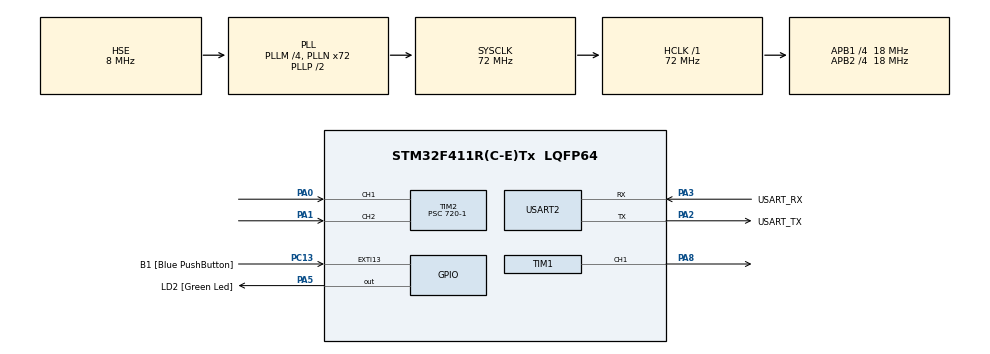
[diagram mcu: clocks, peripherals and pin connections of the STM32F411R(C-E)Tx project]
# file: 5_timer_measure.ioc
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Mcu.Family=STM32F4
Mcu.Name=STM32F411R(C-E)Tx
Mcu.Package=LQFP64
NVIC.PriorityGroup=NVIC_PRIORITYGROUP_0
NVIC.TIM2_IRQn=true\:0\:0\:false\:false\:true\:true\:true\:true
PA0-WKUP.Signal=S_TIM2_CH1_ETR
PA1.Signal=S_TIM2_CH2
PA13.GPIO_Label=TMS
PA13.Mode=Serial_Wire
PA13.Signal=SYS_JTMS-SWDIO
PA14.GPIO_Label=TCK
PA14.Mode=Serial_Wire
PA14.Signal=SYS_JTCK-SWCLK
PA2.GPIO_Label=USART_TX
PA2.Mode=Asynchronous
PA2.Signal=USART2_TX
PA3.GPIO_Label=USART_RX
PA3.Mode=Asynchronous
PA3.Signal=USART2_RX
PA5.GPIO_Label=LD2 [Green Led]
PA5.Signal=GPIO_Output
PA8.Signal=S_TIM1_CH1
PB3.GPIO_Label=SWO
PB3.Signal=SYS_JTDO-SWO
PC13-ANTI_TAMP.GPIO_Label=B1 [Blue PushButton]
PC13-ANTI_TAMP.GPIO_ModeDefaultEXTI=GPIO_MODE_IT_FALLING
PC13-ANTI_TAMP.Signal=GPXTI13
PC14-OSC32_IN.Mode=LSE-External-Oscillator
PC14-OSC32_IN.Signal=RCC_OSC32_IN
PC15-OSC32_OUT.Mode=LSE-External-Oscillator
PC15-OSC32_OUT.Signal=RCC_OSC32_OUT
PH0\ -\ OSC_IN.Mode=HSE-External-Clock-Source
PH0\ -\ OSC_IN.Signal=RCC_OSC_IN
PH1\ -\ OSC_OUT.Mode=HSE-External-Clock-Source
PH1\ -\ OSC_OUT.Signal=RCC_OSC_OUT
ProjectManager.HeapSize=0x200
ProjectManager.StackSize=0x400
ProjectManager.TargetToolchain=STM32CubeIDE
RCC.48MHZClocksFreq_Value=36000000
RCC.AHBFreq_Value=72000000
RCC.APB1CLKDivider=RCC_HCLK_DIV4
RCC.APB1Freq_Value=18000000
RCC.APB1TimFreq_Value=36000000
RCC.APB2CLKDivider=RCC_HCLK_DIV4
RCC.APB2Freq_Value=18000000
RCC.APB2TimFreq_Value=36000000
RCC.CortexFreq_Value=72000000
RCC.FLatency-AdvancedSettings=FLASH_LATENCY_2
RCC.HCLKFreq_Value=72000000
RCC.HSE_VALUE=8000000
RCC.HSI_VALUE=16000000
RCC.PLLM=4
RCC.PLLN=72
RCC.PLLSourceVirtual=RCC_PLLSOURCE_HSE
RCC.SYSCLKFreq_VALUE=72000000
RCC.SYSCLKSource=RCC_SYSCLKSOURCE_PLLCLK
RCC.VCOOutputFreq_Value=144000000
SH.S_TIM1_CH1.0=TIM1_CH1,Output Compare1 CH1
SH.S_TIM2_CH1_ETR.0=TIM2_CH1,Input_Capture1_from_TI1
SH.S_TIM2_CH2.0=TIM2_CH2,Input_Capture2_from_TI2
TIM1.AutoReloadPreload=TIM_AUTORELOAD_PRELOAD_ENABLE
TIM1.Channel-Output\ Compare1\ CH1=TIM_CHANNEL_1
TIM1.OCMode_1=TIM_OCMODE_TOGGLE
TIM1.Period=100-1
TIM1.Prescaler=18000-1
TIM1.Pulse-Output\ Compare1\ CH1=50-1
TIM2.AutoReloadPreload=TIM_AUTORELOAD_PRELOAD_ENABLE
TIM2.Channel-Input_Capture1_from_TI1=TIM_CHANNEL_1
TIM2.Channel-Input_Capture2_from_TI2=TIM_CHANNEL_2
TIM2.ICFilter_CH1=15
TIM2.ICFilter_CH2=15
TIM2.ICPolarity_CH2=TIM_INPUTCHANNELPOLARITY_FALLING
TIM2.Period=50000-1
TIM2.Prescaler=720-1
USART2.VirtualMode=VM_ASYNC
VP_TIM1_VS_ClockSourceINT.Mode=Internal
VP_TIM2_VS_ClockSourceINT.Mode=Internal
board=NUCLEO-F411RE

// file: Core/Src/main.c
/* USER CODE BEGIN Header */
/**
  ******************************************************************************
  * @file           : main.c
  * @brief          : Main program body
  ******************************************************************************
  * @attention
  *
  * Copyright (c) 2025 STMicroelectronics.
  * All rights reserved.
  *
  * This software is licensed under terms that can be found in the LICENSE file
  * in the root directory of this software component.
  * If no LICENSE file comes with this software, it is provided AS-IS.
  *
  ******************************************************************************
  */
/* USER CODE END Header */
#include "main.h"

/* USER CODE BEGIN Includes */
#include <stdio.h>
/* USER CODE END Includes */

TIM_HandleTypeDef htim1;
TIM_HandleTypeDef htim2;

UART_HandleTypeDef huart2;

/* USER CODE BEGIN PV */
uint32_t InputCapture1, InputCapture2;
float DutyRatio, Frequency;
/* USER CODE END PV */

void SystemClock_Config(void);
static void MX_GPIO_Init(void);
static void MX_USART2_UART_Init(void);
static void MX_TIM1_Init(void);
static void MX_TIM2_Init(void);
/* USER CODE BEGIN PFP */
int __io_putchar(int ch)
{
	HAL_UART_Transmit(&huart2, (uint8_t *)&ch, 1, 0xFFFF);
	return ch;
}

void HAL_TIM_IC_CaptureCallback(TIM_HandleTypeDef *htim)
{
	if(htim->Instance == TIM2)
	{
		if(htim->Channel == HAL_TIM_ACTIVE_CHANNEL_1)	//주기 측정
		{
			InputCapture1 = HAL_TIM_ReadCapturedValue(htim, TIM_CHANNEL_1);
			__HAL_TIM_SET_COUNTER(htim, 0);
		}
		if(htim->Channel == HAL_TIM_ACTIVE_CHANNEL_2)	//펄스폭 측정
		{
			InputCapture2 = HAL_TIM_ReadCapturedValue(htim, TIM_CHANNEL_2);
		}
		DutyRatio = (float)((InputCapture2+1)+100/(InputCapture1+1));	//듀티비 계산
		Frequency = 1/((InputCapture1+1)*0.00002);
	}
}
/* USER CODE END PFP */

int main(void)
{

  /* MCU Configuration--------------------------------------------------------*/

  /* Reset of all peripherals, Initializes the Flash interface and the Systick. */
  HAL_Init();

  /* Configure the system clock */
  SystemClock_Config();

  /* Initialize all configured peripherals */
  MX_GPIO_Init();
  MX_USART2_UART_Init();
  MX_TIM1_Init();
  MX_TIM2_Init();
  /* USER CODE BEGIN 2 */
  HAL_TIM_OC_Start(&htim1, TIM_CHANNEL_1);	//10Hz 구형파 발생
  HAL_TIM_IC_Start_IT(&htim2, TIM_CHANNEL_1);	//IC1 동작시작
  HAL_TIM_IC_Start_IT(&htim2, TIM_CHANNEL_2);	//IC1 동작시작

  printf("\n TIM2 Input Capture test start!");
  /* USER CODE END 2 */

  /* Infinite loop */
  /* USER CODE BEGIN WHILE */
  while (1)
  {
	  printf("\n\r IC1 = %ld, IC2 = %ld, DutyRatio=%3.1f, Frequency = %3.2fHz", InputCapture1+1, InputCapture2+1, DutyRatio, Frequency);
    /* USER CODE END WHILE */

  }
}

void SystemClock_Config(void)
{
  RCC_OscInitTypeDef RCC_OscInitStruct = {0};
  RCC_ClkInitTypeDef RCC_ClkInitStruct = {0};

  /** Configure the main internal regulator output voltage
  */
  __HAL_RCC_PWR_CLK_ENABLE();
  __HAL_PWR_VOLTAGESCALING_CONFIG(PWR_REGULATOR_VOLTAGE_SCALE1);

  /** Initializes the RCC Oscillators according to the specified parameters
  * in the RCC_OscInitTypeDef structure.
  */
  RCC_OscInitStruct.OscillatorType = RCC_OSCILLATORTYPE_HSE;
  RCC_OscInitStruct.HSEState = RCC_HSE_BYPASS;
  RCC_OscInitStruct.PLL.PLLState = RCC_PLL_ON;
  RCC_OscInitStruct.PLL.PLLSource = RCC_PLLSOURCE_HSE;
  RCC_OscInitStruct.PLL.PLLM = 4;
  RCC_OscInitStruct.PLL.PLLN = 72;
  RCC_OscInitStruct.PLL.PLLP = RCC_PLLP_DIV2;
  RCC_OscInitStruct.PLL.PLLQ = 4;
  if (HAL_RCC_OscConfig(&RCC_OscInitStruct) != HAL_OK)
  {
    Error_Handler();
  }

  /** Initializes the CPU, AHB and APB buses clocks
  */
  RCC_ClkInitStruct.ClockType = RCC_CLOCKTYPE_HCLK|RCC_CLOCKTYPE_SYSCLK
                              |RCC_CLOCKTYPE_PCLK1|RCC_CLOCKTYPE_PCLK2;
  RCC_ClkInitStruct.SYSCLKSource = RCC_SYSCLKSOURCE_PLLCLK;
  RCC_ClkInitStruct.AHBCLKDivider = RCC_SYSCLK_DIV1;
  RCC_ClkInitStruct.APB1CLKDivider = RCC_HCLK_DIV4;
  RCC_ClkInitStruct.APB2CLKDivider = RCC_HCLK_DIV4;

  if (HAL_RCC_ClockConfig(&RCC_ClkInitStruct, FLASH_LATENCY_2) != HAL_OK)
  {
    Error_Handler();
  }
}

static void MX_TIM1_Init(void)
{

  TIM_ClockConfigTypeDef sClockSourceConfig = {0};
  TIM_MasterConfigTypeDef sMasterConfig = {0};
  TIM_OC_InitTypeDef sConfigOC = {0};
  TIM_BreakDeadTimeConfigTypeDef sBreakDeadTimeConfig = {0};

  htim1.Instance = TIM1;
  htim1.Init.Prescaler = 18000-1;
  htim1.Init.CounterMode = TIM_COUNTERMODE_UP;
  htim1.Init.Period = 100-1;
  htim1.Init.ClockDivision = TIM_CLOCKDIVISION_DIV1;
  htim1.Init.RepetitionCounter = 0;
  htim1.Init.AutoReloadPreload = TIM_AUTORELOAD_PRELOAD_ENABLE;
  if (HAL_TIM_Base_Init(&htim1) != HAL_OK)
  {
    Error_Handler();
  }
  sClockSourceConfig.ClockSource = TIM_CLOCKSOURCE_INTERNAL;
  if (HAL_TIM_ConfigClockSource(&htim1, &sClockSourceConfig) != HAL_OK)
  {
    Error_Handler();
  }
  if (HAL_TIM_OC_Init(&htim1) != HAL_OK)
  {
    Error_Handler();
  }
  sMasterConfig.MasterOutputTrigger = TIM_TRGO_RESET;
  sMasterConfig.MasterSlaveMode = TIM_MASTERSLAVEMODE_DISABLE;
  if (HAL_TIMEx_MasterConfigSynchronization(&htim1, &sMasterConfig) != HAL_OK)
  {
    Error_Handler();
  }
  sConfigOC.OCMode = TIM_OCMODE_TOGGLE;
  sConfigOC.Pulse = 50-1;
  sConfigOC.OCPolarity = TIM_OCPOLARITY_HIGH;
  sConfigOC.OCNPolarity = TIM_OCNPOLARITY_HIGH;
  sConfigOC.OCFastMode = TIM_OCFAST_DISABLE;
  sConfigOC.OCIdleState = TIM_OCIDLESTATE_RESET;
  sConfigOC.OCNIdleState = TIM_OCNIDLESTATE_RESET;
  if (HAL_TIM_OC_ConfigChannel(&htim1, &sConfigOC, TIM_CHANNEL_1) != HAL_OK)
  {
    Error_Handler();
  }
  sBreakDeadTimeConfig.OffStateRunMode = TIM_OSSR_DISABLE;
  sBreakDeadTimeConfig.OffStateIDLEMode = TIM_OSSI_DISABLE;
  sBreakDeadTimeConfig.LockLevel = TIM_LOCKLEVEL_OFF;
  sBreakDeadTimeConfig.DeadTime = 0;
  sBreakDeadTimeConfig.BreakState = TIM_BREAK_DISABLE;
  sBreakDeadTimeConfig.BreakPolarity = TIM_BREAKPOLARITY_HIGH;
  sBreakDeadTimeConfig.AutomaticOutput = TIM_AUTOMATICOUTPUT_DISABLE;
  if (HAL_TIMEx_ConfigBreakDeadTime(&htim1, &sBreakDeadTimeConfig) != HAL_OK)
  {
    Error_Handler();
  }
  HAL_TIM_MspPostInit(&htim1);

}

static void MX_TIM2_Init(void)
{

  TIM_ClockConfigTypeDef sClockSourceConfig = {0};
  TIM_MasterConfigTypeDef sMasterConfig = {0};
  TIM_IC_InitTypeDef sConfigIC = {0};

  htim2.Instance = TIM2;
  htim2.Init.Prescaler = 720-1;
  htim2.Init.CounterMode = TIM_COUNTERMODE_UP;
  htim2.Init.Period = 50000-1;
  htim2.Init.ClockDivision = TIM_CLOCKDIVISION_DIV1;
  htim2.Init.AutoReloadPreload = TIM_AUTORELOAD_PRELOAD_ENABLE;
  if (HAL_TIM_Base_Init(&htim2) != HAL_OK)
  {
    Error_Handler();
  }
  sClockSourceConfig.ClockSource = TIM_CLOCKSOURCE_INTERNAL;
  if (HAL_TIM_ConfigClockSource(&htim2, &sClockSourceConfig) != HAL_OK)
  {
    Error_Handler();
  }
  if (HAL_TIM_IC_Init(&htim2) != HAL_OK)
  {
    Error_Handler();
  }
  sMasterConfig.MasterOutputTrigger = TIM_TRGO_RESET;
  sMasterConfig.MasterSlaveMode = TIM_MASTERSLAVEMODE_DISABLE;
  if (HAL_TIMEx_MasterConfigSynchronization(&htim2, &sMasterConfig) != HAL_OK)
  {
    Error_Handler();
  }
  sConfigIC.ICPolarity = TIM_INPUTCHANNELPOLARITY_RISING;
  sConfigIC.ICSelection = TIM_ICSELECTION_DIRECTTI;
  sConfigIC.ICPrescaler = TIM_ICPSC_DIV1;
  sConfigIC.ICFilter = 15;
  if (HAL_TIM_IC_ConfigChannel(&htim2, &sConfigIC, TIM_CHANNEL_1) != HAL_OK)
  {
    Error_Handler();
  }
  sConfigIC.ICPolarity = TIM_INPUTCHANNELPOLARITY_FALLING;
  if (HAL_TIM_IC_ConfigChannel(&htim2, &sConfigIC, TIM_CHANNEL_2) != HAL_OK)
  {
    Error_Handler();
  }

}

static void MX_USART2_UART_Init(void)
{

  huart2.Instance = USART2;
  huart2.Init.BaudRate = 115200;
  huart2.Init.WordLength = UART_WORDLENGTH_8B;
  huart2.Init.StopBits = UART_STOPBITS_1;
  huart2.Init.Parity = UART_PARITY_NONE;
  huart2.Init.Mode = UART_MODE_TX_RX;
  huart2.Init.HwFlowCtl = UART_HWCONTROL_NONE;
  huart2.Init.OverSampling = UART_OVERSAMPLING_16;
  if (HAL_UART_Init(&huart2) != HAL_OK)
  {
    Error_Handler();
  }

}

static void MX_GPIO_Init(void)
{
  GPIO_InitTypeDef GPIO_InitStruct = {0};

  /* GPIO Ports Clock Enable */
  __HAL_RCC_GPIOC_CLK_ENABLE();
  __HAL_RCC_GPIOH_CLK_ENABLE();
  __HAL_RCC_GPIOA_CLK_ENABLE();
  __HAL_RCC_GPIOB_CLK_ENABLE();

  /*Configure GPIO pin Output Level */
  HAL_GPIO_WritePin(LD2_GPIO_Port, LD2_Pin, GPIO_PIN_RESET);

  /*Configure GPIO pin : B1_Pin */
  GPIO_InitStruct.Pin = B1_Pin;
  GPIO_InitStruct.Mode = GPIO_MODE_IT_FALLING;
  GPIO_InitStruct.Pull = GPIO_NOPULL;
  HAL_GPIO_Init(B1_GPIO_Port, &GPIO_InitStruct);

  /*Configure GPIO pin : LD2_Pin */
  GPIO_InitStruct.Pin = LD2_Pin;
  GPIO_InitStruct.Mode = GPIO_MODE_OUTPUT_PP;
  GPIO_InitStruct.Pull = GPIO_NOPULL;
  GPIO_InitStruct.Speed = GPIO_SPEED_FREQ_LOW;
  HAL_GPIO_Init(LD2_GPIO_Port, &GPIO_InitStruct);

}

void Error_Handler(void)
{
  __disable_irq();
  while (1)
  {
  }
}
